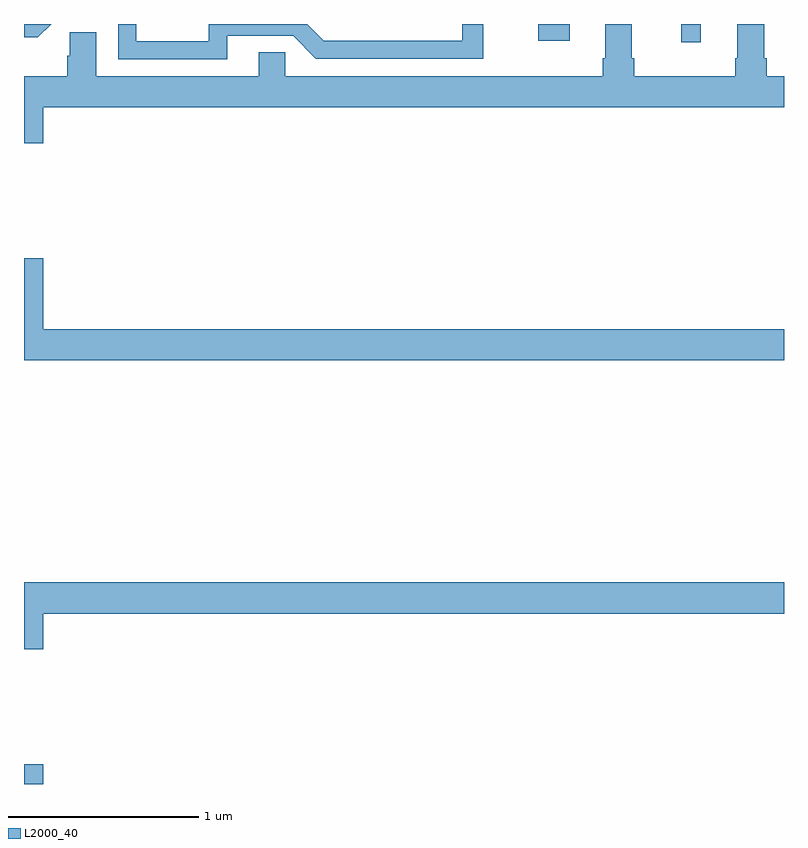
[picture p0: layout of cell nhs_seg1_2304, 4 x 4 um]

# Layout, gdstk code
import gdstk
lib = gdstk.Library(unit=1e-6, precision=1e-09)
def R(c, l, rs):  # rectangles x0, y0, x1, y1
    for r in rs: c.add(gdstk.rectangle(r[:2], r[2:], *l))
def P(c, l, *ps):  # polygons
    for p in ps: c.add(gdstk.Polygon(p, *l))
L2000_40 = (2000, 40)

nhs_seg1_2304 = lib.new_cell('nhs_seg1_2304')
R(nhs_seg1_2304, L2000_40, [(237,520.199,237.1,520.303), (240.46,524.103,240.563,524.199), (239.707,524.112,239.872,524.199)])
P(nhs_seg1_2304, L2000_40, [(237.1,523.76),(241,523.76),(241,523.924),(240.908,523.924),(240.908,524.02),(240.895,524.02),(240.895,524.199),(240.755,524.199),(240.755,524.02),(240.743,524.02),(240.743,523.924),(240.212,523.924),(240.212,524.02),(240.199,524.02),(240.199,524.199),(240.059,524.199),(240.059,524.02),(240.047,524.02),(240.047,523.924),(238.374,523.924),(238.374,524.051),(238.235,524.051),(238.235,523.924),(237.379,523.924),(237.379,524.156),(237.24,524.156),(237.24,524.033),(237.227,524.033),(237.227,523.924),(237,523.924),(237,523.572),(237.1,523.572)],
  [(237.144,524.199),(237,524.199),(237,524.129),(237.073,524.129)],
  [(238.069,524.136),(238.416,524.136),(238.536,524.016),(239.416,524.016),(239.416,524.199),(239.307,524.199),(239.307,524.112),(238.578,524.112),(238.491,524.199),(237.972,524.199),(237.972,524.109),(237.591,524.109),(237.591,524.199),(237.495,524.199),(237.495,524.013),(238.069,524.013)],
  [(241,522.592),(237.1,522.592),(237.1,522.967),(237,522.967),(237,522.428),(241,522.428)],
  [(237.1,521.096),(241,521.096),(241,521.26),(237,521.26),(237,520.908),(237.1,520.908)])

lib.write_gds('nhs_seg1_2304.gds')
